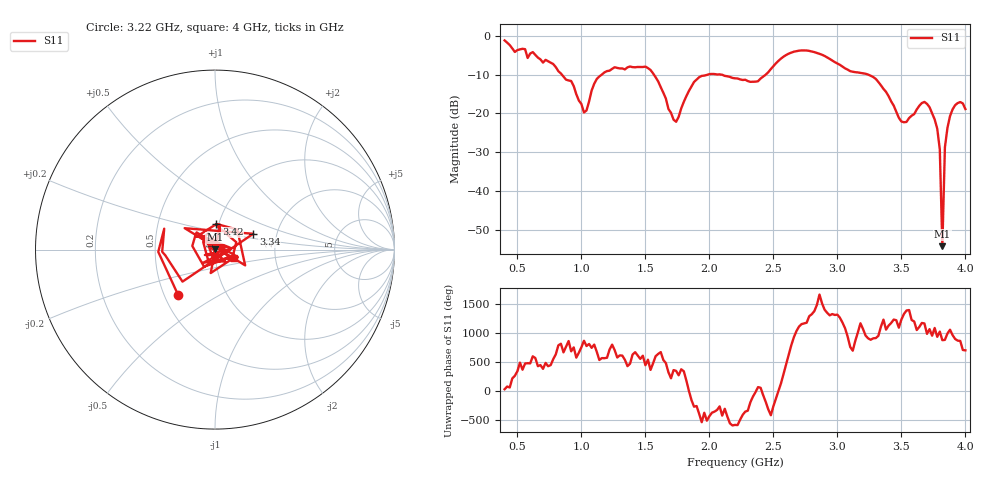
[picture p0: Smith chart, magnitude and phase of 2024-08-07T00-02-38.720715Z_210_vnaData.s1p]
!Created with skrf (http://scikit-rf.org).
# Hz S RI R 50.0
!freq ReS11 ImS11
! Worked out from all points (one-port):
!   181 points, 400 MHz to 4 GHz, reference 50 ohm
!   lowest |S11| = -54.2 dB at 3.82 GHz (marker M1), VSWR 1.00, Z = 49.8 + j0.097 ohm
!   |S11| at or under -10 dB: 1.566 GHz to 1.988 GHz (421.3 MHz wide, 23.7 % of centre); 2.092 GHz to 2.44 GHz (347.9 MHz wide, 15.4 % of centre); 3.24 GHz to end of sweep (the widest 3 of 4)
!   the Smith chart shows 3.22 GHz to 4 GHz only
!   S11 on the Smith chart (normalised r, x): 3.22 GHz: 0.59, -0.33; 3.34 GHz: 1.51, +0.28; 3.42 GHz: 0.98, +0.28; 4 GHz: 1.22, -0.12
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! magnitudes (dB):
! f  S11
! 400 MHz  -1.2
! 860 MHz  -10.5
! 920 MHz  -11.6
! 1.02 GHz  -19.8
! 1.12 GHz  -11.1
! 1.3 GHz  -8.4
! 1.54 GHz  -8.8
! 1.72 GHz  -21.6
! 1.76 GHz  -20.9
! 1.92 GHz  -10.7
! 2.2 GHz  -11.0
! 2.38 GHz  -11.7
! 2.66 GHz  -4.1
! 2.86 GHz  -4.6
! 3.1 GHz  -9.1
! 3.22 GHz  -9.8
! 3.34 GHz  -12.7
! 3.42 GHz  -16.9
! 3.5 GHz  -22.1
! 3.56 GHz  -21.2
! 3.68 GHz  -17.0
! 3.78 GHz  -23.9
! 3.8 GHz  -29.2
! 3.82 GHz  -54.2
! 3.84 GHz  -28.7
! 3.86 GHz  -23.7
! 3.92 GHz  -17.9
! 4 GHz  -18.9
